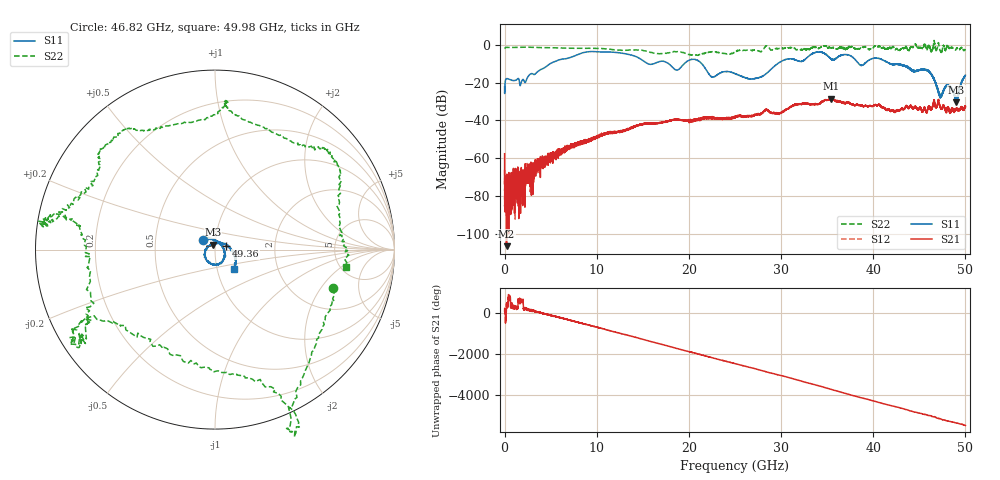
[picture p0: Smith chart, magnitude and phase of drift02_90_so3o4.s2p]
!Created with skrf (http://scikit-rf.org).
# Hz S RI R 50.0
!freq ReS11 ImS11 ReS21 ImS21 ReS12 ImS12 ReS22 ImS22
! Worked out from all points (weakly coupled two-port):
!   10001 points, 300 kHz to 50 GHz, reference 50 ohm
!   highest |S21| = -28.55 dB at 35.38 GHz (marker M1); lowest = -106.3 dB at 210.3 MHz (marker M2)
!   lowest |S11| = -30.5 dB at 49.02 GHz (marker M3), VSWR 1.06, Z = 48.8 + j2.7 ohm
!   |S11| at or under -10 dB: start of sweep to 4.955 GHz; 21.38 GHz to 29.63 GHz (8.244 GHz wide, 32.3 % of centre); 41.83 GHz to end of sweep (the widest 3 of 8)
!   |S22| runs from -5.7 to 2.2 dB; largest |S21 - S12| = 0.0038
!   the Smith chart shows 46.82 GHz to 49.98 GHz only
!   S11 on the Smith chart (normalised r, x): 46.82 GHz: 0.87, +0.09; 49.36 GHz: 1.13, +0.05; 49.98 GHz: 1.21, -0.26
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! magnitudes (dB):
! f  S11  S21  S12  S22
! 300 kHz  -22.3  -57.5  -66.0  -2.1
! 210.3 MHz  -17.9  -106.3  -78.4  -1.4
! 1.875 GHz  -19.0  -69.6  -72.6  -1.3
! 3.585 GHz  -14.2  -62.2  -65.1  -1.5
! 8.335 GHz  -4.5  -51.9  -51.6  -1.9
! 16.67 GHz  -9.1  -41.4  -41.4  -4.7
! 18.71 GHz  -13.4  -39.3  -39.7  -3.7
! 20.6 GHz  -7.7  -39.2  -39.8  -5.7
! 22.52 GHz  -17.1  -39.2  -38.6  -3.7
! 25 GHz  -15.3  -38.0  -38.2  -3.9
! 27.47 GHz  -17.6  -36.7  -36.3  -3.2
! 33.34 GHz  -4.9  -31.3  -31.3  -1.6
! 35.38 GHz  -7.3  -28.6  -28.6  -1.4
! 41.67 GHz  -9.6  -34.0  -34.3  -1.9
! 45.8 GHz  -13.6  -35.6  -35.3  -2.4
! 46.82 GHz  -21.3  -33.3  -33.5  -3.2
! 47.28 GHz  -27.3  -33.0  -32.9  -3.3
! 48.12 GHz  -21.6  -33.2  -33.0  -0.7
! 49.02 GHz  -30.5  -33.8  -33.6  -2.0
! 49.36 GHz  -23.6  -34.5  -34.2  -2.6
! 49.98 GHz  -16.5  -32.7  -32.6  -2.7
! 50 GHz  -16.1  -32.5  -32.4  -2.6
